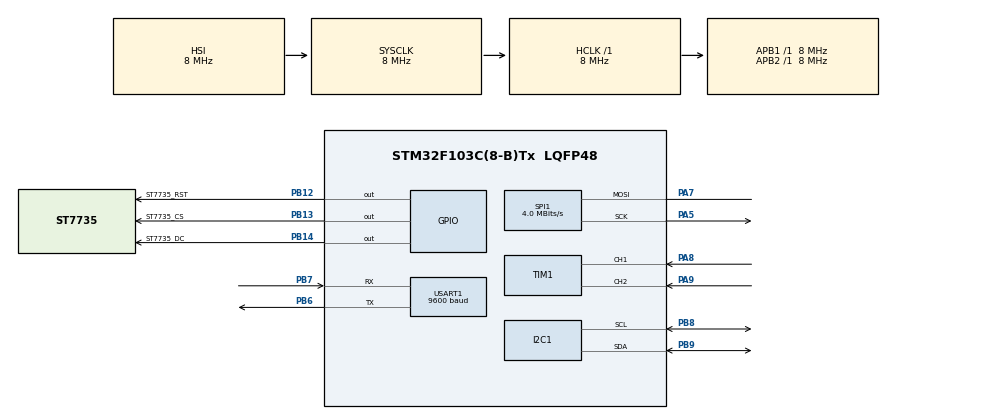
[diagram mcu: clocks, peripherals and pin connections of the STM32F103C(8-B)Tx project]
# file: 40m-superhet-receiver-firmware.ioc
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Mcu.Family=STM32F1
Mcu.Name=STM32F103C(8-B)Tx
Mcu.Package=LQFP48
NVIC.PriorityGroup=NVIC_PRIORITYGROUP_4
PA13.Mode=Serial_Wire
PA13.Signal=SYS_JTMS-SWDIO
PA14.Mode=Serial_Wire
PA14.Signal=SYS_JTCK-SWCLK
PA5.Mode=Simplex_Bidirectional_Master
PA5.Signal=SPI1_SCK
PA7.Mode=Simplex_Bidirectional_Master
PA7.Signal=SPI1_MOSI
PA8.Signal=S_TIM1_CH1
PA9.Signal=S_TIM1_CH2
PB12.GPIO_Label=ST7735_RST
PB12.Signal=GPIO_Output
PB13.GPIO_Label=ST7735_CS
PB13.Signal=GPIO_Output
PB14.GPIO_Label=ST7735_DC
PB14.GPIO_PuPd=GPIO_PULLUP
PB14.Signal=GPIO_Output
PB6.Mode=Asynchronous
PB6.Signal=USART1_TX
PB7.Mode=Asynchronous
PB7.Signal=USART1_RX
PB8.Mode=I2C
PB8.Signal=I2C1_SCL
PB9.Mode=I2C
PB9.Signal=I2C1_SDA
PD0-OSC_IN.Mode=HSE-External-Oscillator
PD0-OSC_IN.Signal=RCC_OSC_IN
PD1-OSC_OUT.Mode=HSE-External-Oscillator
PD1-OSC_OUT.Signal=RCC_OSC_OUT
ProjectManager.HeapSize=0x200
ProjectManager.StackSize=0x400
ProjectManager.TargetToolchain=STM32CubeIDE
RCC.AHBFreq_Value=8000000
RCC.APB1Freq_Value=8000000
RCC.APB1TimFreq_Value=8000000
RCC.APB2Freq_Value=8000000
RCC.APB2TimFreq_Value=8000000
RCC.HCLKFreq_Value=8000000
RCC.PLLMUL=RCC_PLL_MUL9
RCC.SYSCLKFreq_VALUE=8000000
RCC.USBFreq_Value=36000000
SH.S_TIM1_CH1.0=TIM1_CH1,Encoder_Interface
SH.S_TIM1_CH2.0=TIM1_CH2,Encoder_Interface
SPI1.BaudRatePrescaler=SPI_BAUDRATEPRESCALER_2
SPI1.CalculateBaudRate=4.0 MBits/s
SPI1.Direction=SPI_DIRECTION_1LINE
SPI1.Mode=SPI_MODE_MASTER
SPI1.VirtualType=VM_MASTER
USART1.BaudRate=9600
USART1.VirtualMode=VM_ASYNC
board=custom

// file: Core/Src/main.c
/* USER CODE BEGIN Header */
/**
 ******************************************************************************
 * @file           : main.c
 * @brief          : Main program body
 ******************************************************************************
 ** This notice applies to any and all portions of this file
 * that are not between comment pairs USER CODE BEGIN and
 * USER CODE END. Other portions of this file, whether
 * inserted by the user or by software development tools
 * are owned by their respective copyright owners.
 *
 * COPYRIGHT(c) 2020 STMicroelectronics
 *
 * Redistribution and use in source and binary forms, with or without modification,
 * are permitted provided that the following conditions are met:
 *   1. Redistributions of source code must retain the above copyright notice,
 *      this list of conditions and the following disclaimer.
 *   2. Redistributions in binary form must reproduce the above copyright notice,
 *      this list of conditions and the following disclaimer in the documentation
 *      and/or other materials provided with the distribution.
 *   3. Neither the name of STMicroelectronics nor the names of its contributors
 *      may be used to endorse or promote products derived from this software
 *      without specific prior written permission.
 *
 * THIS SOFTWARE IS PROVIDED BY THE COPYRIGHT HOLDERS AND CONTRIBUTORS "AS IS"
 * AND ANY EXPRESS OR IMPLIED WARRANTIES, INCLUDING, BUT NOT LIMITED TO, THE
 * IMPLIED WARRANTIES OF MERCHANTABILITY AND FITNESS FOR A PARTICULAR PURPOSE ARE
 * DISCLAIMED. IN NO EVENT SHALL THE COPYRIGHT HOLDER OR CONTRIBUTORS BE LIABLE
 * FOR ANY DIRECT, INDIRECT, INCIDENTAL, SPECIAL, EXEMPLARY, OR CONSEQUENTIAL
 * DAMAGES (INCLUDING, BUT NOT LIMITED TO, PROCUREMENT OF SUBSTITUTE GOODS OR
 * SERVICES; LOSS OF USE, DATA, OR PROFITS; OR BUSINESS INTERRUPTION) HOWEVER
 * CAUSED AND ON ANY THEORY OF LIABILITY, WHETHER IN CONTRACT, STRICT LIABILITY,
 * OR TORT (INCLUDING NEGLIGENCE OR OTHERWISE) ARISING IN ANY WAY OUT OF THE USE
 * OF THIS SOFTWARE, EVEN IF ADVISED OF THE POSSIBILITY OF SUCH DAMAGE.
 *
 ******************************************************************************
 */
/* USER CODE END Header */
#include "main.h"

/* USER CODE BEGIN Includes */
#include <string.h>
#include <stdio.h>
#include "st7735.h"
#include "si5351.h"
/* USER CODE END Includes */

I2C_HandleTypeDef hi2c1;

SPI_HandleTypeDef hspi1;

TIM_HandleTypeDef htim1;

UART_HandleTypeDef huart1;

/* USER CODE BEGIN PV */
/* Private variables ---------------------------------------------------------*/

/* USER CODE END PV */

void SystemClock_Config(void);
static void MX_GPIO_Init(void);
static void MX_SPI1_Init(void);
static void MX_I2C1_Init(void);
static void MX_TIM1_Init(void);
static void MX_USART1_UART_Init(void);
/* USER CODE BEGIN PFP */
/* Private function prototypes -----------------------------------------------*/

/* USER CODE END PFP */

/* USER CODE BEGIN 0 */

// SSB
const int32_t Fbfo = 12000000; // xtal filter highest frequency in passband
const int32_t BfoToneShift = 0; // don't shift actual BFO frequency for SSB

typedef enum {
	ROTARY_ENCODER_MODE_CHANGE_FREQEUNCY = 0,
	ROTARY_ENCODER_MODE_CHANGE_STEP = 1,
} RotaryEncoderMode_t;

extern volatile uint8_t buttonPressed[5];

int32_t prevCounter = 0;
int32_t targetFrequency = 7115000;
int32_t frequencyStep = 1000;
int32_t prevFrequencyStep = 0;
RotaryEncoderMode_t rotaryEncoderMode;

void UART_TransmitString(const char *str) {
	HAL_UART_Transmit(&huart1, (uint8_t*) str, strlen(str), HAL_MAX_DELAY);
}

int32_t frequencyStepToDigitOffset(int32_t step) {
	// returns digit offset from the left depending on frequency step
	// example:
	// 14.000.00
	//      ^
	// step = 1000
	// offset = 4
	switch (step) {
	case 10:
		return 8;
	case 100:
		return 7;
	case 1000:
		return 5;
	case 10000:
		return 4;
	case 100000:
		return 3;
	case 1000000:
		return 1;
	default:
		return 0;
	}
}

void changeFrequencyStep(int32_t delta) {
	int32_t step = frequencyStep;
	while (delta != 0) {
		if (delta > 0) {
			step = step / 10;
			//if(step == 1) {
			//	step = 10000000;
			//}
			if (step < 10) {
				step = 100000;
			}
			delta--;
		} else {
			step = step * 10;
			//if(step > 10000000) {
			//	step = 10;
			//}
			if (step > 100000) {
				step = 10;
			}
			delta++;
		}
	}
	frequencyStep = step;
}

void changeFrequency(int32_t delta) {
	targetFrequency += frequencyStep * delta;
	if (targetFrequency < 7000000) {
		targetFrequency = 7000000;
	} else if (targetFrequency > 7200000) {
		targetFrequency = 7200000;
	}

	int32_t Fvfo;
	if (targetFrequency < 10000000) {
		Fvfo = Fbfo - targetFrequency; // LSB
	} else {
		Fvfo = Fbfo + targetFrequency; // USB
	}
	si5351_EnableOutputs((1 << 0));
	si5351_SetupCLK2(Fvfo, SI5351_DRIVE_STRENGTH_4MA);
	si5351_EnableOutputs((1 << 2) | (1 << 0));
}

void changeRotaryEncoderMode() {
	if (rotaryEncoderMode == ROTARY_ENCODER_MODE_CHANGE_FREQEUNCY) {
		rotaryEncoderMode = ROTARY_ENCODER_MODE_CHANGE_STEP;
	} else {
		rotaryEncoderMode = ROTARY_ENCODER_MODE_CHANGE_FREQEUNCY;
	}
}

void displayFrequency() {
	if (frequencyStep != prevFrequencyStep) {
		// changeFrequencyStep() was called
		int32_t digitOffset = frequencyStepToDigitOffset(prevFrequencyStep);
		ST7735_FillRectangle(16 * digitOffset, 26 * 2, 16, 2, ST7735_BLACK);

		digitOffset = frequencyStepToDigitOffset(frequencyStep);
		ST7735_FillRectangle(16 * digitOffset, 26 * 2, 16, 2, ST7735_GREEN);

		prevFrequencyStep = frequencyStep;
	}

//	char buff[16];
//	snprintf(buff, sizeof(buff), "%02ld.%03ld.%02ld",
//		targetFrequency / 1000000, (targetFrequency % 1000000) / 1000, (targetFrequency % 1000) / 10);
//	ST7735_WriteString(0, 26*1, buff, Font_16x26, ST7735_GREEN, ST7735_BLACK);

	static bool firstCall = true;
	// A little optimization
	if (firstCall) {
		ST7735_WriteString(16, 26 * 1, "7.", Font_16x26, ST7735_GREEN,
				ST7735_BLACK);
		firstCall = false;
	}

	char buff[16];
	snprintf(buff, sizeof(buff), "%03ld.%02ld",
			(targetFrequency % 1000000) / 1000, (targetFrequency % 1000) / 10);
	ST7735_WriteString(16 * 3, 26 * 1, buff, Font_16x26, ST7735_GREEN,
			ST7735_BLACK);
}

void showMessage(const char *str) {
	ST7735_WriteString(1, 1, str, Font_7x10, ST7735_YELLOW, ST7735_BLACK);
}

void init() {
	HAL_GPIO_WritePin(GPIOC, GPIO_PIN_13, GPIO_PIN_RESET);
	// Make sure all other components are powered up and ready
	HAL_Delay(100);

	UART_TransmitString("Starting encoder timer...\r\n");
	HAL_TIM_Encoder_Start(&htim1, TIM_CHANNEL_ALL);

	UART_TransmitString("Initializing ST7735...\r\n");
	ST7735_Init();
	ST7735_FillScreen(ST7735_BLACK);
	showMessage("Initialized ST7735");

	UART_TransmitString("Initializing Si5351...\r\n");
	showMessage("Initializing Si5351...");

	const int32_t correction = 5810;
	si5351_Init(correction);
	si5351_SetupCLK0(Fbfo + BfoToneShift, SI5351_DRIVE_STRENGTH_4MA);
	changeFrequency(0);
	showMessage("Initialized Si5351!");
	HAL_Delay(100);

	ST7735_FillScreen(ST7735_BLACK);

	displayFrequency();

	UART_TransmitString("Ready!\r\n");
	HAL_GPIO_WritePin(GPIOC, GPIO_PIN_13, GPIO_PIN_SET);
}

void loop() {
	int32_t currCounter = __HAL_TIM_GET_COUNTER(&htim1);
	currCounter = 32767 - ((currCounter - 1) & 0xFFFF) / 2;
	if (currCounter > 32768 / 2) {
		// convert ... 32766, 32767, 0, 1, 2 ... into:
		//               ... -2, -1, 0, 1, 2 ...
		// this simplifies `delta` calculation
		currCounter = currCounter - 32768;
	}
	if (currCounter != prevCounter) {
		int32_t delta = currCounter - prevCounter;
		prevCounter = currCounter;
		// debounce, or skip counter overflow
		if ((delta > -10) && (delta < 10)) {
			if (rotaryEncoderMode == ROTARY_ENCODER_MODE_CHANGE_FREQEUNCY) {
				changeFrequency(delta);
			} else {
				changeFrequencyStep(delta);
			}
			displayFrequency();
		}
	}

	uint8_t buttonNumber = 0;
	while (buttonNumber < sizeof(buttonPressed) / sizeof(buttonPressed[0])) {
		if (buttonPressed[buttonNumber]) {
			buttonPressed[buttonNumber] = 0;
			if (buttonNumber == 0) {
				changeRotaryEncoderMode();
			} else {
				// other buttons are not used yet
				// char buff[16];
				// snprintf(buff, sizeof(buff), "BUTTON %d", buttonNumber);
				// ST7735_WriteString(0, 26*0, buff, Font_16x26, ST7735_RED, ST7735_BLACK);
			}
		}
		buttonNumber++;
	}

	HAL_Delay(100);
}

/* USER CODE END 0 */

int main(void) {

	/* MCU Configuration--------------------------------------------------------*/

	/* Reset of all peripherals, Initializes the Flash interface and the Systick. */
	HAL_Init();

	/* Configure the system clock */
	SystemClock_Config();

	/* Initialize all configured peripherals */
	MX_GPIO_Init();
	MX_SPI1_Init();
	MX_I2C1_Init();
	MX_TIM1_Init();
	MX_USART1_UART_Init();
	/* USER CODE BEGIN 2 */
	init();
	/* USER CODE END 2 */

	/* Infinite loop */
	/* USER CODE BEGIN WHILE */
	while (1) {
		loop();
		/* USER CODE END WHILE */

	}
}

void SystemClock_Config(void) {
	RCC_OscInitTypeDef RCC_OscInitStruct = { 0 };
	RCC_ClkInitTypeDef RCC_ClkInitStruct = { 0 };

	/** Initializes the RCC Oscillators according to the specified parameters
	 * in the RCC_OscInitTypeDef structure.
	 */
	RCC_OscInitStruct.OscillatorType = RCC_OSCILLATORTYPE_HSI;
	RCC_OscInitStruct.HSIState = RCC_HSI_ON;
	RCC_OscInitStruct.HSICalibrationValue = RCC_HSICALIBRATION_DEFAULT;
	RCC_OscInitStruct.PLL.PLLState = RCC_PLL_NONE;
	if (HAL_RCC_OscConfig(&RCC_OscInitStruct) != HAL_OK) {
		Error_Handler();
	}

	/** Initializes the CPU, AHB and APB buses clocks
	 */
	RCC_ClkInitStruct.ClockType = RCC_CLOCKTYPE_HCLK | RCC_CLOCKTYPE_SYSCLK
			| RCC_CLOCKTYPE_PCLK1 | RCC_CLOCKTYPE_PCLK2;
	RCC_ClkInitStruct.SYSCLKSource = RCC_SYSCLKSOURCE_HSI;
	RCC_ClkInitStruct.AHBCLKDivider = RCC_SYSCLK_DIV1;
	RCC_ClkInitStruct.APB1CLKDivider = RCC_HCLK_DIV1;
	RCC_ClkInitStruct.APB2CLKDivider = RCC_HCLK_DIV1;

	if (HAL_RCC_ClockConfig(&RCC_ClkInitStruct, FLASH_LATENCY_0) != HAL_OK) {
		Error_Handler();
	}
}

static void MX_I2C1_Init(void) {

	hi2c1.Instance = I2C1;
	hi2c1.Init.ClockSpeed = 100000;
	hi2c1.Init.DutyCycle = I2C_DUTYCYCLE_2;
	hi2c1.Init.OwnAddress1 = 0;
	hi2c1.Init.AddressingMode = I2C_ADDRESSINGMODE_7BIT;
	hi2c1.Init.DualAddressMode = I2C_DUALADDRESS_DISABLE;
	hi2c1.Init.OwnAddress2 = 0;
	hi2c1.Init.GeneralCallMode = I2C_GENERALCALL_DISABLE;
	hi2c1.Init.NoStretchMode = I2C_NOSTRETCH_DISABLE;
	if (HAL_I2C_Init(&hi2c1) != HAL_OK) {
		Error_Handler();
	}

}

static void MX_SPI1_Init(void) {

	/* SPI1 parameter configuration*/
	hspi1.Instance = SPI1;
	hspi1.Init.Mode = SPI_MODE_MASTER;
	hspi1.Init.Direction = SPI_DIRECTION_1LINE;
	hspi1.Init.DataSize = SPI_DATASIZE_8BIT;
	hspi1.Init.CLKPolarity = SPI_POLARITY_LOW;
	hspi1.Init.CLKPhase = SPI_PHASE_1EDGE;
	hspi1.Init.NSS = SPI_NSS_SOFT;
	hspi1.Init.BaudRatePrescaler = SPI_BAUDRATEPRESCALER_2;
	hspi1.Init.FirstBit = SPI_FIRSTBIT_MSB;
	hspi1.Init.TIMode = SPI_TIMODE_DISABLE;
	hspi1.Init.CRCCalculation = SPI_CRCCALCULATION_DISABLE;
	hspi1.Init.CRCPolynomial = 10;
	if (HAL_SPI_Init(&hspi1) != HAL_OK) {
		Error_Handler();
	}

}

static void MX_TIM1_Init(void) {

	TIM_Encoder_InitTypeDef sConfig = { 0 };
	TIM_MasterConfigTypeDef sMasterConfig = { 0 };

	htim1.Instance = TIM1;
	htim1.Init.Prescaler = 0;
	htim1.Init.CounterMode = TIM_COUNTERMODE_UP;
	htim1.Init.Period = 65535;
	htim1.Init.ClockDivision = TIM_CLOCKDIVISION_DIV1;
	htim1.Init.RepetitionCounter = 0;
	htim1.Init.AutoReloadPreload = TIM_AUTORELOAD_PRELOAD_DISABLE;
	sConfig.EncoderMode = TIM_ENCODERMODE_TI1;
	sConfig.IC1Polarity = TIM_ICPOLARITY_RISING;
	sConfig.IC1Selection = TIM_ICSELECTION_DIRECTTI;
	sConfig.IC1Prescaler = TIM_ICPSC_DIV1;
	sConfig.IC1Filter = 0;
	sConfig.IC2Polarity = TIM_ICPOLARITY_RISING;
	sConfig.IC2Selection = TIM_ICSELECTION_DIRECTTI;
	sConfig.IC2Prescaler = TIM_ICPSC_DIV1;
	sConfig.IC2Filter = 0;
	if (HAL_TIM_Encoder_Init(&htim1, &sConfig) != HAL_OK) {
		Error_Handler();
	}
	sMasterConfig.MasterOutputTrigger = TIM_TRGO_RESET;
	sMasterConfig.MasterSlaveMode = TIM_MASTERSLAVEMODE_DISABLE;
	if (HAL_TIMEx_MasterConfigSynchronization(&htim1, &sMasterConfig)
			!= HAL_OK) {
		Error_Handler();
	}

}

static void MX_USART1_UART_Init(void) {

	huart1.Instance = USART1;
	huart1.Init.BaudRate = 9600;
	huart1.Init.WordLength = UART_WORDLENGTH_8B;
	huart1.Init.StopBits = UART_STOPBITS_1;
	huart1.Init.Parity = UART_PARITY_NONE;
	huart1.Init.Mode = UART_MODE_TX_RX;
	huart1.Init.HwFlowCtl = UART_HWCONTROL_NONE;
	huart1.Init.OverSampling = UART_OVERSAMPLING_16;
	if (HAL_UART_Init(&huart1) != HAL_OK) {
		Error_Handler();
	}

}

static void MX_GPIO_Init(void) {
	GPIO_InitTypeDef GPIO_InitStruct = { 0 };

	/* GPIO Ports Clock Enable */
	__HAL_RCC_GPIOD_CLK_ENABLE();
	__HAL_RCC_GPIOA_CLK_ENABLE();
	__HAL_RCC_GPIOB_CLK_ENABLE();

	/*Configure GPIO pin Output Level */
	HAL_GPIO_WritePin(GPIOB, ST7735_RST_Pin | ST7735_CS_Pin | ST7735_DC_Pin,
			GPIO_PIN_RESET);

	/*Configure GPIO pins : ST7735_RST_Pin ST7735_CS_Pin */
	GPIO_InitStruct.Pin = ST7735_RST_Pin | ST7735_CS_Pin;
	GPIO_InitStruct.Mode = GPIO_MODE_OUTPUT_PP;
	GPIO_InitStruct.Pull = GPIO_NOPULL;
	GPIO_InitStruct.Speed = GPIO_SPEED_FREQ_LOW;
	HAL_GPIO_Init(GPIOB, &GPIO_InitStruct);

	/*Configure GPIO pin : ST7735_DC_Pin */
	GPIO_InitStruct.Pin = ST7735_DC_Pin;
	GPIO_InitStruct.Mode = GPIO_MODE_OUTPUT_PP;
	GPIO_InitStruct.Pull = GPIO_PULLUP;
	GPIO_InitStruct.Speed = GPIO_SPEED_FREQ_LOW;
	HAL_GPIO_Init(ST7735_DC_GPIO_Port, &GPIO_InitStruct);

}

void Error_Handler(void) {
	while (1) {
	}
}
